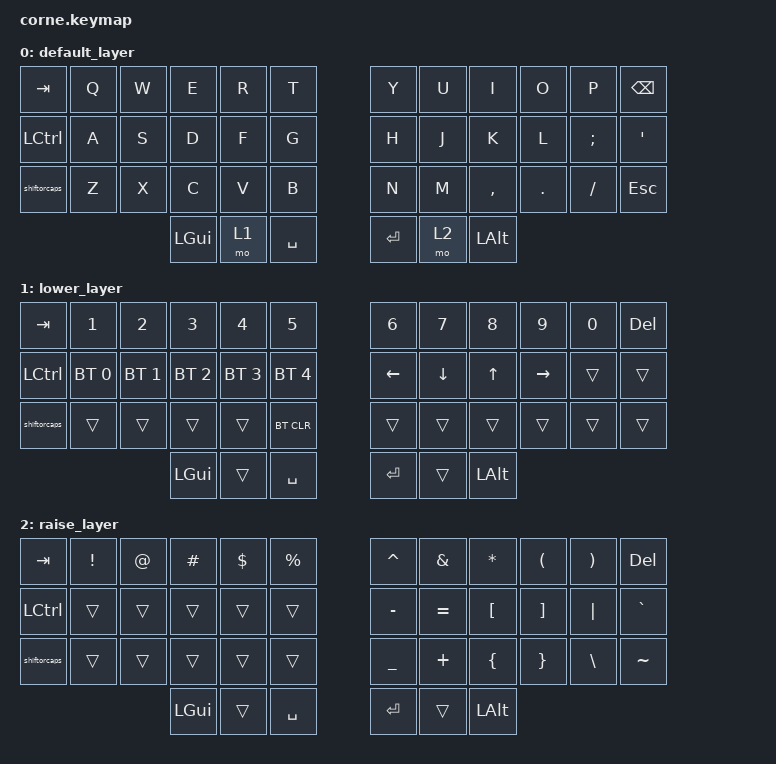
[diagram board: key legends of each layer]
/*
 * Copyright (c) 2020 The ZMK Contributors
 *
 * SPDX-License-Identifier: MIT
 */

#include <behaviors.dtsi>
#include <dt-bindings/zmk/keys.h>
#include <dt-bindings/zmk/bt.h>

/ {
    /* Mata a configuração padrão para evitar conflito com o SuperMini */
/*
    /delete-node/ vbatt;

    vbatt: vbatt {
        compatible = "zmk,battery-voltage-divider";
        label = "BATTERY";
        io-channels = <&adc 7>;
        output-ohms = <1000000>;
        full-ohms = <2000000>;
    };

    chosen {
        zmk,battery = &vbatt;
    };
        */
    
    behaviors {  
        shiftorcaps: shiftorcaps {
            compatible = "zmk,behavior-tap-dance";
            label = "SHIFTORCAPS";
            #binding-cells = <0>;
            tapping-term-ms = <200>;
            bindings = <&kp LEFT_SHIFT>, <&kp CAPS>;
        };
    };

    keymap {
        compatible = "zmk,keymap";
        default_layer {
          /*   +-----------+-----------+-----------+-----------+-----------+-----------+                               +-----------+-----------+-----------+-----------+-----------+-----------+
               | TAB       |     Q     |     W     |     E     |     R     |     T     |                               |     Y     |     U     |     I     |     O     |     P     |   BSPC    |
               +-----------+-----------+-----------+-----------+-----------+-----------+                               +-----------+-----------+-----------+-----------+-----------+-----------+
               | CTRL      |     A     |     S     |     D     |     F     |     G     |                               |     H     |     J     |     K     |     L     |     ;     |    '      |
               +-----------+-----------+-----------+-----------+-----------+-----------+                               +-----------+-----------+-----------+-----------+-----------+-----------+
               | SHFT:CAPS |     Z     |     X     |     C     |     V     |     B     |                               |     N     |     M     |     ,     |     .     |     /     |   ESC     |
               +-----------+-----------+-----------+-----------+-----------+-----------+-----------+       +-----------+-----------+-----------+-----------+-----------+-----------+-----------+
                                                               |    GUI    |    LWR    |    SPC    |       |    ENT    |    RSE    |    LALT   |
                                                               +-----------+-----------+-----------+       +-----------+-----------+-----------+*/
            bindings = <
                &kp TAB        &kp Q       &kp W       &kp E     &kp R       &kp T                                      &kp Y        &kp U       &kp I       &kp O        &kp P       &kp BSPC
                &kp LCTRL      &kp A       &kp S       &kp D     &kp F       &kp G                                      &kp H        &kp J       &kp K       &kp L        &kp SEMI    &kp SQT
                &shiftorcaps   &kp Z       &kp X       &kp C     &kp V       &kp B                                      &kp N        &kp M       &kp COMMA   &kp DOT      &kp FSLH    &kp ESC
                                                                 &kp LGUI    &mo 1       &kp SPACE           &kp RET    &mo 2        &kp LALT
            >;
        };
        lower_layer {
          /*   +-----------+-----------+-----------+-----------+-----------+-----------+                               +-----------+-----------+-----------+-----------+-----------+-----------+
               | TAB       |     1     |     2     |     3     |     4     |     5     |                               |     6     |     7     |     8     |     9     |     0     |   DEL     |
               +-----------+-----------+-----------+-----------+-----------+-----------+                               +-----------+-----------+-----------+-----------+-----------+-----------+
               | CTRL      |    BT1    |    BT2    |    BT3    |    BT4    |    BT5    |                               |    LEFT   |   DOWN    |     UP    |   RIGHT   |           |           |
               +-----------+-----------+-----------+-----------+-----------+-----------+                               +-----------+-----------+-----------+-----------+-----------+-----------+
               | SHFT:CAPS |           |           |           |           | BT CLEAR  |                               |           |           |           |           |           |           |
               +-----------+-----------+-----------+-----------+-----------+-----------+-----------+       +-----------+-----------+-----------+-----------+-----------+-----------+-----------+
                                                               |    GUI    |           |    SPC    |       |    ENT    |           |    LALT   |
                                                               +-----------+-----------+-----------+       +-----------+-----------+-----------+*/
            bindings = <
                &kp TAB      &kp N1       &kp N2       &kp N3       &kp N4       &kp N5                                 &kp N6       &kp N7      &kp N8      &kp N9       &kp N0     &kp DEL
                &kp LCTRL    &bt BT_SEL 0 &bt BT_SEL 1 &bt BT_SEL 2 &bt BT_SEL 3 &bt BT_SEL 4                           &kp LEFT     &kp DOWN    &kp UP      &kp RIGHT    &trans     &trans
                &shiftorcaps &trans       &trans       &trans       &trans       &bt BT_CLR                             &trans       &trans      &trans      &trans       &trans     &trans
                                                                    &kp LGUI     &trans  &kp SPACE           &kp RET    &trans       &kp LALT
            >;
        };
        raise_layer {
         /*   +-----------+-----------+-----------+-----------+-----------+-----------+                                +-----------+-----------+-----------+-----------+-----------+-----------+
              | TAB       |     !     |     @     |     #     |     $     |     %     |                                |     ^     |     &     |     *     |     (     |     )     |   DEL     |
              +-----------+-----------+-----------+-----------+-----------+-----------+                                +-----------+-----------+-----------+-----------+-----------+-----------+
              | CTRL      |           |           |           |           |           |                                |     -     |     =     |     [     |     ]     |   "|"     |    `      |
              +-----------+-----------+-----------+-----------+-----------+-----------+                                +-----------+-----------+-----------+-----------+-----------+-----------+
              | SHFT:CAPS |           |           |           |           |           |                                |     _     |     +     |     {     |     }     |    \      |    ~      |
              +-----------+-----------+-----------+-----------+-----------+-----------+-----------+        +-----------+-----------+-----------+-----------+-----------+-----------+-----------+
                                                              |    GUI    |           |    SPC    |        |    ENT    |           |    LALT   |
                                                              +-----------+-----------+-----------+        +-----------+-----------+-----------+*/
            bindings = <
                &kp TAB      &kp EXCL     &kp AT      &kp HASH    &kp DLLR   &kp PRCNT                                   &kp CARET   &kp AMPS    &kp ASTRK   &kp LPAR    &kp RPAR    &kp DEL
                &kp LCTRL    &trans       &trans      &trans      &trans     &trans                                      &kp MINUS   &kp EQUAL   &kp LBKT    &kp RBKT    &kp PIPE    &kp GRAVE
                &shiftorcaps &trans       &trans      &trans      &trans     &trans                                      &kp UNDER   &kp PLUS    &kp LBRC    &kp RBRC    &kp BSLH    &kp TILDE
                                                                  &kp LGUI    &trans     &kp SPACE           &kp RET     &trans      &kp LALT
            >;
        };
   };
};
